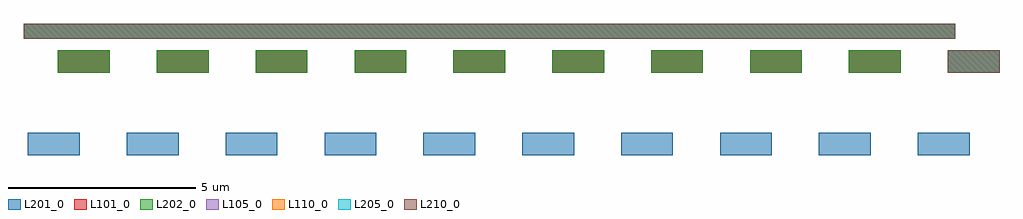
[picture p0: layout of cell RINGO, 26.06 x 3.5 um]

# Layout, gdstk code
import gdstk
lib = gdstk.Library(unit=1e-6, precision=1e-09)
def R(c, l, rs):  # rectangles x0, y0, x1, y1
    for r in rs: c.add(gdstk.rectangle(r[:2], r[2:], *l))
def A(c, l, x, y, w, h, nx, ny, dx, dy):  # array of equal rectangles
    R(c, l, [(x+i*dx, y+j*dy, x+i*dx+w, y+j*dy+h) for i in range(nx) for j in range(ny)])
L101_0 = (101, 0)
L105_0 = (105, 0)
L110_0 = (110, 0)
L201_0 = (201, 0)
L202_0 = (202, 0)
L205_0 = (205, 0)
L210_0 = (210, 0)

trans = lib.new_cell('TRANS')

inv2 = lib.new_cell('INV2')
R(inv2, L201_0, [(-1.6,-1.5,-0.22,-0.9)])
inv2.add(gdstk.Reference(trans, (0.4,0), x_reflection=True))
inv2.add(gdstk.Reference(trans, (0.4,2.8), x_reflection=True))
inv2.add(gdstk.Reference(trans, (-0.4,0)))
inv2.add(gdstk.Reference(trans, (-0.4,2.8)))

ringo = lib.new_cell('RINGO')
A(ringo, L101_0, -0.8, 0.7, 1.38, 0.6, 10, 1, 2.64, 0)
R(ringo, L101_0, [(-1.72,1.6,23.16,2)])
R(ringo, L105_0, [(22.96,0.7,24.34,1.3), (-1.72,1.6,23.16,2)])
R(ringo, L110_0, [(22.96,0.7,24.34,1.3), (-1.72,1.6,23.16,2)])
A(ringo, L201_0, -0.8, 0.7, 1.38, 0.6, 10, 1, 2.64, 0)
R(ringo, L201_0, [(-1.72,1.6,23.16,2)])
A(ringo, L202_0, -0.8, 0.7, 1.38, 0.6, 10, 1, 2.64, 0)
R(ringo, L202_0, [(-1.72,1.6,23.16,2)])
R(ringo, L205_0, [(22.96,0.7,24.34,1.3), (-1.72,1.6,23.16,2)])
R(ringo, L210_0, [(22.96,0.7,24.34,1.3), (-1.72,1.6,23.16,2)])
ringo.add(gdstk.Reference(inv2, (0,0)))
ringo.add(gdstk.Reference(inv2, (2.64,0)))
ringo.add(gdstk.Reference(inv2, (5.28,0)))
ringo.add(gdstk.Reference(inv2, (7.92,0)))
ringo.add(gdstk.Reference(inv2, (10.56,0)))
ringo.add(gdstk.Reference(inv2, (13.2,0)))
ringo.add(gdstk.Reference(inv2, (15.84,0)))
ringo.add(gdstk.Reference(inv2, (18.48,0)))
ringo.add(gdstk.Reference(inv2, (21.12,0)))
ringo.add(gdstk.Reference(inv2, (23.76,0)))

lib.write_gds('RINGO.gds')
